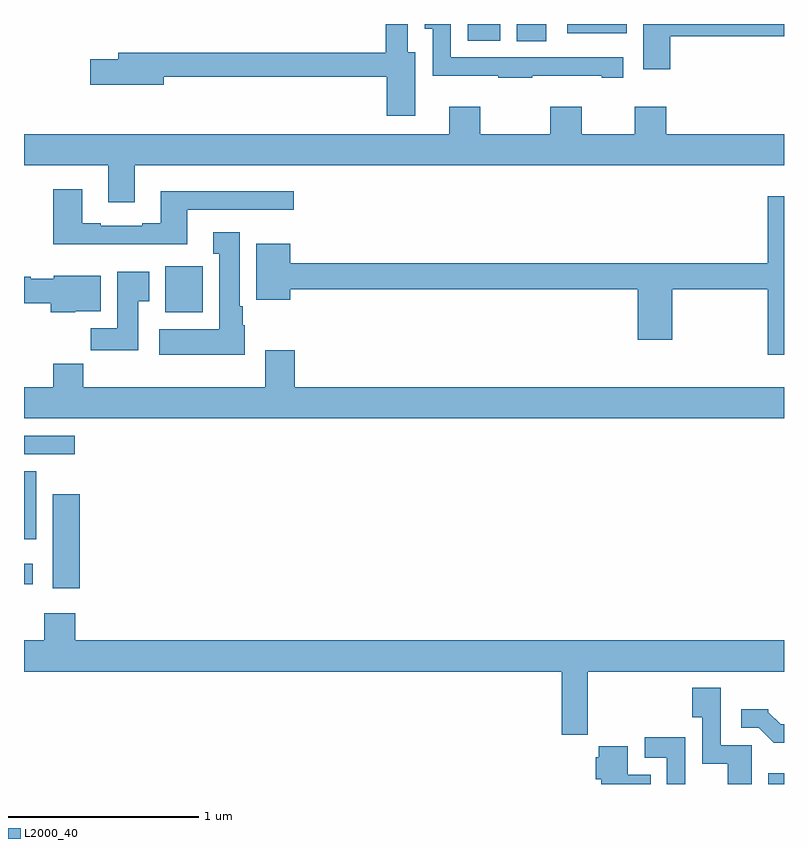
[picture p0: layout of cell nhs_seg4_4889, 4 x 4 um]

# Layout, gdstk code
import gdstk
lib = gdstk.Library(unit=1e-6, precision=1e-09)
def R(c, l, rs):  # rectangles x0, y0, x1, y1
    for r in rs: c.add(gdstk.rectangle(r[:2], r[2:], *l))
def P(c, l, *ps):  # polygons
    for p in ps: c.add(gdstk.Polygon(p, *l))
L2000_40 = (2000, 40)

nhs_seg4_4889 = lib.new_cell('nhs_seg4_4889')
R(nhs_seg4_4889, L2000_40, [(378.917,790.9,379,790.957), (375.152,791.931,375.293,792.424), (375,791.952,375.046,792.06), (375,792.188,375.064,792.547), (375,792.636,375.268,792.732), (375.743,793.382,375.94,793.624), (377.594,794.809,377.749,794.9), (377.336,794.813,377.506,794.9), (377.859,794.852,378.172,794.9)])
P(nhs_seg4_4889, L2000_40, [(378.401,794.836),(379,794.836),(379,794.9),(378.26,794.9),(378.26,794.661),(378.401,794.661)],
  [(377.059,794.752),(377.019,794.752),(377.019,794.9),(376.903,794.9),(376.903,794.75),(375.497,794.75),(375.497,794.714),(375.348,794.714),(375.348,794.579),(375.736,794.579),(375.736,794.622),(376.91,794.622),(376.91,794.418),(377.059,794.418)],
  [(377.675,794.627),(378.041,794.627),(378.041,794.616),(378.154,794.616),(378.154,794.724),(377.247,794.724),(377.247,794.9),(377.108,794.9),(377.108,794.876),(377.151,794.876),(377.151,794.627),(377.497,794.627),(377.497,794.616),(377.675,794.616)],
  [(379,794.32),(378.379,794.32),(378.379,794.464),(378.215,794.464),(378.215,794.32),(377.935,794.32),(377.935,794.464),(377.771,794.464),(377.771,794.32),(377.401,794.32),(377.401,794.464),(377.237,794.464),(377.237,794.32),(375,794.32),(375,794.156),(375.443,794.156),(375.443,793.962),(375.583,793.962),(375.583,794.156),(379,794.156)],
  [(375.859,793.923),(376.42,793.923),(376.42,794.02),(375.719,794.02),(375.719,793.852),(375.623,793.852),(375.623,793.839),(375.403,793.839),(375.403,793.852),(375.307,793.852),(375.307,794.029),(375.155,794.029),(375.155,793.742),(375.859,793.742)],
  [(379,793.993),(378.914,793.993),(378.914,793.64),(376.402,793.64),(376.402,793.744),(376.223,793.744),(376.223,793.448),(376.402,793.448),(376.402,793.504),(378.23,793.504),(378.23,793.239),(378.413,793.239),(378.413,793.504),(378.914,793.504),(378.914,793.158),(379,793.158)],
  [(376.162,793.314),(376.15,793.314),(376.15,793.414),(376.135,793.414),(376.135,793.804),(375.995,793.804),(375.995,793.691),(376.028,793.691),(376.028,793.294),(375.711,793.294),(375.711,793.16),(376.162,793.16)],
  [(375.601,793.441),(375.658,793.441),(375.658,793.597),(375.491,793.597),(375.491,793.3),(375.352,793.3),(375.352,793.182),(375.601,793.182)],
  [(375.27,793.388),(375.403,793.388),(375.403,793.576),(375.156,793.576),(375.156,793.558),(375.036,793.558),(375.036,793.571),(375,793.571),(375,793.429),(375.14,793.429),(375.14,793.382),(375.27,793.382)],
  [(379,792.988),(376.424,792.988),(376.424,793.183),(376.271,793.183),(376.271,792.988),(375.311,792.988),(375.311,793.112),(375.155,793.112),(375.155,792.988),(375,792.988),(375,792.824),(379,792.824)],
  [(377.966,791.492),(379,791.492),(379,791.656),(375.271,791.656),(375.271,791.8),(375.107,791.8),(375.107,791.656),(375,791.656),(375,791.492),(377.83,791.492),(377.83,791.16),(377.966,791.16)],
  [(378.829,791.103),(378.666,791.103),(378.666,791.407),(378.518,791.407),(378.518,791.251),(378.57,791.251),(378.57,791.006),(378.704,791.006),(378.704,790.9),(378.829,790.9)],
  [(379,791.214),(378.982,791.214),(378.918,791.278),(378.918,791.293),(378.774,791.293),(378.774,791.196),(378.867,791.196),(378.946,791.118),(379,791.118)],
  [(378.48,791.146),(378.267,791.146),(378.267,791.037),(378.384,791.037),(378.384,790.9),(378.48,790.9)],
  [(378.299,790.948),(378.178,790.948),(378.178,791.098),(378.026,791.098),(378.026,791.04),(378.008,791.04),(378.008,790.926),(378.038,790.926),(378.038,790.9),(378.299,790.9)])

lib.write_gds('nhs_seg4_4889.gds')
